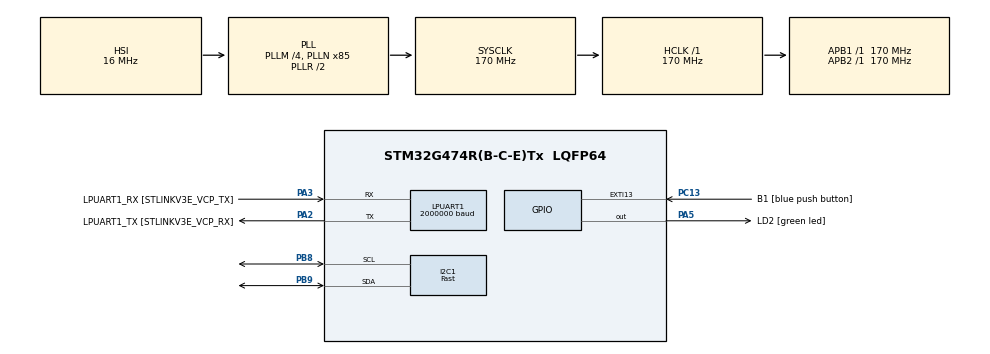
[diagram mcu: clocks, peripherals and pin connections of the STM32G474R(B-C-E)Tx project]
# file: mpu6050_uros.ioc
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Dma.LPUART1_RX.0.Direction=DMA_PERIPH_TO_MEMORY
Dma.LPUART1_RX.0.EventEnable=DISABLE
Dma.LPUART1_RX.0.Instance=DMA1_Channel2
Dma.LPUART1_RX.0.MemDataAlignment=DMA_MDATAALIGN_BYTE
Dma.LPUART1_RX.0.MemInc=DMA_MINC_ENABLE
Dma.LPUART1_RX.0.Mode=DMA_CIRCULAR
Dma.LPUART1_RX.0.PeriphDataAlignment=DMA_PDATAALIGN_BYTE
Dma.LPUART1_RX.0.PeriphInc=DMA_PINC_DISABLE
Dma.LPUART1_RX.0.Polarity=HAL_DMAMUX_REQ_GEN_RISING
Dma.LPUART1_RX.0.Priority=DMA_PRIORITY_VERY_HIGH
Dma.LPUART1_RX.0.RequestNumber=1
Dma.LPUART1_RX.0.SignalID=NONE
Dma.LPUART1_RX.0.SyncEnable=DISABLE
Dma.LPUART1_RX.0.SyncPolarity=HAL_DMAMUX_SYNC_NO_EVENT
Dma.LPUART1_RX.0.SyncRequestNumber=1
Dma.LPUART1_RX.0.SyncSignalID=NONE
Dma.LPUART1_TX.1.Direction=DMA_MEMORY_TO_PERIPH
Dma.LPUART1_TX.1.EventEnable=DISABLE
Dma.LPUART1_TX.1.Instance=DMA1_Channel1
Dma.LPUART1_TX.1.MemDataAlignment=DMA_MDATAALIGN_BYTE
Dma.LPUART1_TX.1.MemInc=DMA_MINC_ENABLE
Dma.LPUART1_TX.1.Mode=DMA_NORMAL
Dma.LPUART1_TX.1.PeriphDataAlignment=DMA_PDATAALIGN_BYTE
Dma.LPUART1_TX.1.PeriphInc=DMA_PINC_DISABLE
Dma.LPUART1_TX.1.Polarity=HAL_DMAMUX_REQ_GEN_RISING
Dma.LPUART1_TX.1.Priority=DMA_PRIORITY_VERY_HIGH
Dma.LPUART1_TX.1.RequestNumber=1
Dma.LPUART1_TX.1.SignalID=NONE
Dma.LPUART1_TX.1.SyncEnable=DISABLE
Dma.LPUART1_TX.1.SyncPolarity=HAL_DMAMUX_SYNC_NO_EVENT
Dma.LPUART1_TX.1.SyncRequestNumber=1
Dma.LPUART1_TX.1.SyncSignalID=NONE
Dma.Request0=LPUART1_RX
Dma.Request1=LPUART1_TX
FREERTOS.Tasks01=defaultTask,24,3000,StartDefaultTask,As weak,NULL,Static,defaultTaskBuffer,defaultTaskControlBlock
FREERTOS.configENABLE_FPU=1
I2C1.I2C_Speed_Mode=I2C_Fast
I2C1.Timing=0x40621236
IWDG.Reload=2499
LPUART1.BaudRate=2000000
Mcu.Family=STM32G4
Mcu.Name=STM32G474R(B-C-E)Tx
Mcu.Package=LQFP64
NVIC.DMA1_Channel1_IRQn=true\:5\:0\:false\:false\:true\:true\:false\:true\:true
NVIC.DMA1_Channel2_IRQn=true\:5\:0\:false\:false\:true\:true\:false\:true\:true
NVIC.EXTI15_10_IRQn=true\:5\:0\:false\:false\:true\:true\:true\:true\:true
NVIC.LPUART1_IRQn=true\:5\:0\:false\:false\:true\:true\:true\:true\:true
NVIC.PriorityGroup=NVIC_PRIORITYGROUP_4
NVIC.TIM1_UP_TIM16_IRQn=true\:15\:0\:false\:false\:true\:false\:false\:true\:true
NVIC.TimeBase=TIM1_UP_TIM16_IRQn
NVIC.TimeBaseIP=TIM1
PA13.GPIO_Label=T_SWDIO
PA13.Signal=SYS_JTMS-SWDIO
PA14.GPIO_Label=T_SWCLK
PA14.Signal=SYS_JTCK-SWCLK
PA2.GPIO_Label=LPUART1_TX [STLINKV3E_VCP_RX]
PA2.Mode=Asynchronous
PA2.Signal=LPUART1_TX
PA3.GPIO_Label=LPUART1_RX [STLINKV3E_VCP_TX]
PA3.Mode=Asynchronous
PA3.Signal=LPUART1_RX
PA5.GPIO_Label=LD2 [green led]
PA5.Signal=GPIO_Output
PB3.GPIO_Label=T_SWO
PB3.Signal=SYS_JTDO-SWO
PB8-BOOT0.Mode=I2C
PB8-BOOT0.Signal=I2C1_SCL
PB9.Mode=I2C
PB9.Signal=I2C1_SDA
PC13.GPIO_Label=B1 [blue push button]
PC13.Signal=GPXTI13
PC14-OSC32_IN.GPIO_Label=RCC_OSC32_IN
PC14-OSC32_IN.Signal=RCC_OSC32_IN
PC15-OSC32_OUT.GPIO_Label=RCC_OSC32_OUT
PC15-OSC32_OUT.Signal=RCC_OSC32_OUT
PF0-OSC_IN.GPIO_Label=RCC_OSC_IN
PF0-OSC_IN.Signal=RCC_OSC_IN
PF1-OSC_OUT.GPIO_Label=RCC_OSC_OUT
PF1-OSC_OUT.Signal=RCC_OSC_OUT
ProjectManager.HeapSize=0x200
ProjectManager.StackSize=0x400
ProjectManager.TargetToolchain=STM32CubeIDE
RCC.ADC12Freq_Value=170000000
RCC.ADC345Freq_Value=170000000
RCC.AHBFreq_Value=170000000
RCC.APB1Freq_Value=170000000
RCC.APB1TimFreq_Value=170000000
RCC.APB2Freq_Value=170000000
RCC.APB2TimFreq_Value=170000000
RCC.CortexFreq_Value=170000000
RCC.EXTERNAL_CLOCK_VALUE=12288000
RCC.HCLKFreq_Value=170000000
RCC.HSE_VALUE=24000000
RCC.HSI48_VALUE=48000000
RCC.HSI_VALUE=16000000
RCC.LSE_VALUE=32768
RCC.PLLM=RCC_PLLM_DIV4
RCC.PLLN=85
RCC.RTCClockSelection=RCC_RTCCLKSOURCE_LSE
RCC.SYSCLKFreq_VALUE=170000000
RCC.SYSCLKSource=RCC_SYSCLKSOURCE_PLLCLK
RCC.USBFreq_Value=170000000
RCC.VCOOutputFreq_Value=340000000
VP_FREERTOS_VS_CMSIS_V2.Mode=CMSIS_V2
VP_IWDG_VS_IWDG.Mode=IWDG_Activate
VP_SYS_VS_DBSignals.Mode=DisableDeadBatterySignals
VP_SYS_VS_tim1.Mode=TIM1
board=NUCLEO-G474RE

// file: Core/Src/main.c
/* USER CODE BEGIN Header */
/**
  ******************************************************************************
  * @file           : main.c
  * @brief          : Main program body
  ******************************************************************************
  * @attention
  *
  * Copyright (c) 2024 STMicroelectronics.
  * All rights reserved.
  *
  * This software is licensed under terms that can be found in the LICENSE file
  * in the root directory of this software component.
  * If no LICENSE file comes with this software, it is provided AS-IS.
  *
  ******************************************************************************
  */
/* USER CODE END Header */
#include "main.h"
#include "cmsis_os.h"
#include "dma.h"
#include "i2c.h"
#include "iwdg.h"
#include "usart.h"
#include "gpio.h"

/* USER CODE BEGIN Includes */
#include <rcl/rcl.h>
#include <rcl/error_handling.h>
#include <rclc/rclc.h>
#include <rcl/init_options.h>
#include <rclc/executor.h>
#include <uxr/client/transport.h>
#include <rmw_microxrcedds_c/config.h>
#include <rmw_microros/rmw_microros.h>

#include <micro_ros_utilities/string_utilities.h>
#include <sensor_msgs/msg/imu.h>
#include <mpu6050.h>
#include <math.h>
#include <geometry_msgs/msg/twist.h>
/* USER CODE END Includes */

/* USER CODE BEGIN PD */
#define G2M_S2 9.81
#define DEG2RAD M_PI / 180.0
/* USER CODE END PD */

/* USER CODE BEGIN PV */
rclc_support_t support;
rcl_allocator_t allocator;
rcl_node_t node;
rcl_init_options_t init_options;

rcl_timer_t mpu6050_timer;
rclc_executor_t executor;
rcl_publisher_t mpu6050_publisher;
sensor_msgs__msg__Imu mpu6050_msg;

MPU6050_t MPU6050;

rcl_publisher_t cmd_vel_publisher;
geometry_msgs__msg__Twist pub_msg;

typedef struct {
    double linearVelocityX;   // Linear velocity in x-axis (m/s)
    double angularVelocityZ;  // Angular velocity in z-axis (rad/s)
} VelocityOutput;
/* USER CODE END PV */

void SystemClock_Config(void);
void MX_FREERTOS_Init(void);
/* USER CODE BEGIN PFP */
bool cubemx_transport_open(struct uxrCustomTransport * transport);
bool cubemx_transport_close(struct uxrCustomTransport * transport);
size_t cubemx_transport_write(struct uxrCustomTransport* transport, const uint8_t * buf, size_t len, uint8_t * err);
size_t cubemx_transport_read(struct uxrCustomTransport* transport, uint8_t* buf, size_t len, int timeout, uint8_t* err);

void * microros_allocate(size_t size, void * state);
void microros_deallocate(void * pointer, void * state);
void * microros_reallocate(void * pointer, size_t size, void * state);
void * microros_zero_allocate(size_t number_of_elements, size_t size_of_element, void * state);
/* USER CODE END PFP */

/* USER CODE BEGIN 0 */
VelocityOutput convertRollPitchToVelocity(double roll, double pitch) {
    VelocityOutput output;

    // Convert roll and pitch from degrees to radians
    double rollRad = roll * DEG2RAD;
    double pitchRad = pitch * DEG2RAD;

    // Define a scaling factor for the conversion (tune this as needed)
    double linearScale = 5.0;  // Adjust based on desired speed and response
    double angularScale = 3.0;

    // Calculate linear velocity in x-axis (m/s) from roll
    output.linearVelocityX = linearScale * cos(pitchRad) * sin(rollRad);

    // Calculate angular velocity in z-axis (rad/s) from pitch
    output.angularVelocityZ = angularScale * sin(pitchRad);

    return output; // Return the output structure
}

void timer_callback(rcl_timer_t * timer, int64_t last_call_time)
{

	if (timer != NULL) {
		// read data in MPU6050 (library)
		MPU6050_Read_All(&hi2c1, &MPU6050);

		// store sync time in mpu6050_msg time stamp
		mpu6050_msg.header.stamp.sec = rmw_uros_epoch_millis() / 1000; // second unit
		mpu6050_msg.header.stamp.nanosec =  rmw_uros_epoch_nanos(); // nano second unit

		// store data MPU6050 in mpu6050_msg
		// 	unit m/s^2
		mpu6050_msg.linear_acceleration.x = G2M_S2 * MPU6050.Ax;
		mpu6050_msg.linear_acceleration.y = G2M_S2 * MPU6050.Ay;
		mpu6050_msg.linear_acceleration.z = G2M_S2 * MPU6050.Az;
		// unit rad/s
		mpu6050_msg.angular_velocity.x = DEG2RAD * MPU6050.Gx;
		mpu6050_msg.angular_velocity.y = DEG2RAD * MPU6050.Gy;
		mpu6050_msg.angular_velocity.z = DEG2RAD * MPU6050.Gz;
		// Test get Angle
		mpu6050_msg.orientation.x = MPU6050.KalmanAngleX;
		mpu6050_msg.orientation.y = MPU6050.KalmanAngleY;
		rcl_publish(&mpu6050_publisher, &mpu6050_msg, NULL);

		VelocityOutput velocities = convertRollPitchToVelocity(mpu6050_msg.orientation.x, mpu6050_msg.orientation.y);
		pub_msg.linear.x = velocities.linearVelocityX;
		pub_msg.angular.z = velocities.angularVelocityZ;
		rcl_publish(&cmd_vel_publisher, &pub_msg, NULL);

		// Auto Reconnect
		HAL_IWDG_Refresh(&hiwdg);
	}
}

void StartDefaultTask(void *argument)
{
  /* USER CODE BEGIN 5 */

  // micro-ROS configuration

  rmw_uros_set_custom_transport(
    true,
    (void *) &hlpuart1,
    cubemx_transport_open,
    cubemx_transport_close,
    cubemx_transport_write,
    cubemx_transport_read);

  rcl_allocator_t freeRTOS_allocator = rcutils_get_zero_initialized_allocator();
  freeRTOS_allocator.allocate = microros_allocate;
  freeRTOS_allocator.deallocate = microros_deallocate;
  freeRTOS_allocator.reallocate = microros_reallocate;
  freeRTOS_allocator.zero_allocate =  microros_zero_allocate;

  if (!rcutils_set_default_allocator(&freeRTOS_allocator)) {
      printf("Error on default allocators (line %d)\n", __LINE__);
  }

  // micro-ROS app
  allocator = rcl_get_default_allocator();

  // Initialize and modify options (Set DOMAIN ID to 10)
  init_options = rcl_get_zero_initialized_init_options();
  rcl_init_options_init(&init_options, allocator);
  rcl_init_options_set_domain_id(&init_options, 23);

  //create init_options
  rclc_support_init_with_options(&support, 0, NULL, &init_options, &allocator);

  // create node
  rclc_node_init_default(&node, "cubemx_node", "", &support);

  // Sync time (for add in timestamp imu)
  rmw_uros_sync_session(1000); // ms unit

  // create timer
  rclc_timer_init_default(
		  &mpu6050_timer,
		  &support,
		  RCL_MS_TO_NS(10), // 1000 ms
		  timer_callback
		  );

  // create publisher
  rclc_publisher_init_best_effort(
		  &mpu6050_publisher,
		  &node,
		  ROSIDL_GET_MSG_TYPE_SUPPORT(sensor_msgs ,msg ,Imu),
		  "mpu6050_publisher"
  );
  rclc_publisher_init_default(
		  &cmd_vel_publisher,
		  &node,
		  ROSIDL_GET_MSG_TYPE_SUPPORT(geometry_msgs ,msg ,Twist),
		  "cmd_vel"
  );

  //create  message
  mpu6050_msg.header.frame_id = micro_ros_string_utilities_init("imu_frame");

  // create executor
  executor = rclc_executor_get_zero_initialized_executor(); // Get default config of executor
  unsigned int num_handles = 1; //num_handles คือ จำนวนของ callback ที่เรา handle ซึ่งตอนนี้มีคือ timer จึงเท่ากับ 1
  rclc_executor_init(&executor, &support.context, num_handles, &allocator);
  // add timer (ถ้า add callback ใดก่อน callback นั้นจะเริ่มทำงานก่อน)
  rclc_executor_add_timer(&executor, &mpu6050_timer);
  // เรียกใช้ spin เพื่อให้ callback ต่างๆทำงาน
  rclc_executor_spin(&executor);

  for(;;)
  {
    osDelay(10);
  }
  /* USER CODE END 5 */
}
/* USER CODE END 0 */

int main(void)
{

  /* MCU Configuration--------------------------------------------------------*/

  /* Reset of all peripherals, Initializes the Flash interface and the Systick. */
  HAL_Init();

  /* Configure the system clock */
  SystemClock_Config();

  /* Initialize all configured peripherals */
  MX_GPIO_Init();
  MX_DMA_Init();
  MX_LPUART1_UART_Init();
  MX_I2C1_Init();
  MX_IWDG_Init();
  /* USER CODE BEGIN 2 */

  // initialization of the GY-521 (MPU6050)
  while (MPU6050_Init(&hi2c1) == 1);

  /* USER CODE END 2 */

  /* Init scheduler */
  osKernelInitialize();

  /* Call init function for freertos objects (in cmsis_os2.c) */
  MX_FREERTOS_Init();

  /* Start scheduler */
  osKernelStart();

  /* We should never get here as control is now taken by the scheduler */

  /* Infinite loop */
  while (1)
  {

  }
}

void SystemClock_Config(void)
{
  RCC_OscInitTypeDef RCC_OscInitStruct = {0};
  RCC_ClkInitTypeDef RCC_ClkInitStruct = {0};

  /** Configure the main internal regulator output voltage
  */
  HAL_PWREx_ControlVoltageScaling(PWR_REGULATOR_VOLTAGE_SCALE1_BOOST);

  /** Initializes the RCC Oscillators according to the specified parameters
  * in the RCC_OscInitTypeDef structure.
  */
  RCC_OscInitStruct.OscillatorType = RCC_OSCILLATORTYPE_HSI|RCC_OSCILLATORTYPE_LSI;
  RCC_OscInitStruct.HSIState = RCC_HSI_ON;
  RCC_OscInitStruct.HSICalibrationValue = RCC_HSICALIBRATION_DEFAULT;
  RCC_OscInitStruct.LSIState = RCC_LSI_ON;
  RCC_OscInitStruct.PLL.PLLState = RCC_PLL_ON;
  RCC_OscInitStruct.PLL.PLLSource = RCC_PLLSOURCE_HSI;
  RCC_OscInitStruct.PLL.PLLM = RCC_PLLM_DIV4;
  RCC_OscInitStruct.PLL.PLLN = 85;
  RCC_OscInitStruct.PLL.PLLP = RCC_PLLP_DIV2;
  RCC_OscInitStruct.PLL.PLLQ = RCC_PLLQ_DIV2;
  RCC_OscInitStruct.PLL.PLLR = RCC_PLLR_DIV2;
  if (HAL_RCC_OscConfig(&RCC_OscInitStruct) != HAL_OK)
  {
    Error_Handler();
  }

  /** Initializes the CPU, AHB and APB buses clocks
  */
  RCC_ClkInitStruct.ClockType = RCC_CLOCKTYPE_HCLK|RCC_CLOCKTYPE_SYSCLK
                              |RCC_CLOCKTYPE_PCLK1|RCC_CLOCKTYPE_PCLK2;
  RCC_ClkInitStruct.SYSCLKSource = RCC_SYSCLKSOURCE_PLLCLK;
  RCC_ClkInitStruct.AHBCLKDivider = RCC_SYSCLK_DIV1;
  RCC_ClkInitStruct.APB1CLKDivider = RCC_HCLK_DIV1;
  RCC_ClkInitStruct.APB2CLKDivider = RCC_HCLK_DIV1;

  if (HAL_RCC_ClockConfig(&RCC_ClkInitStruct, FLASH_LATENCY_4) != HAL_OK)
  {
    Error_Handler();
  }
}

void HAL_TIM_PeriodElapsedCallback(TIM_HandleTypeDef *htim)
{
  if (htim->Instance == TIM1) {
    HAL_IncTick();
  }
}

void Error_Handler(void)
{
  __disable_irq();
  while (1)
  {
  }
}
